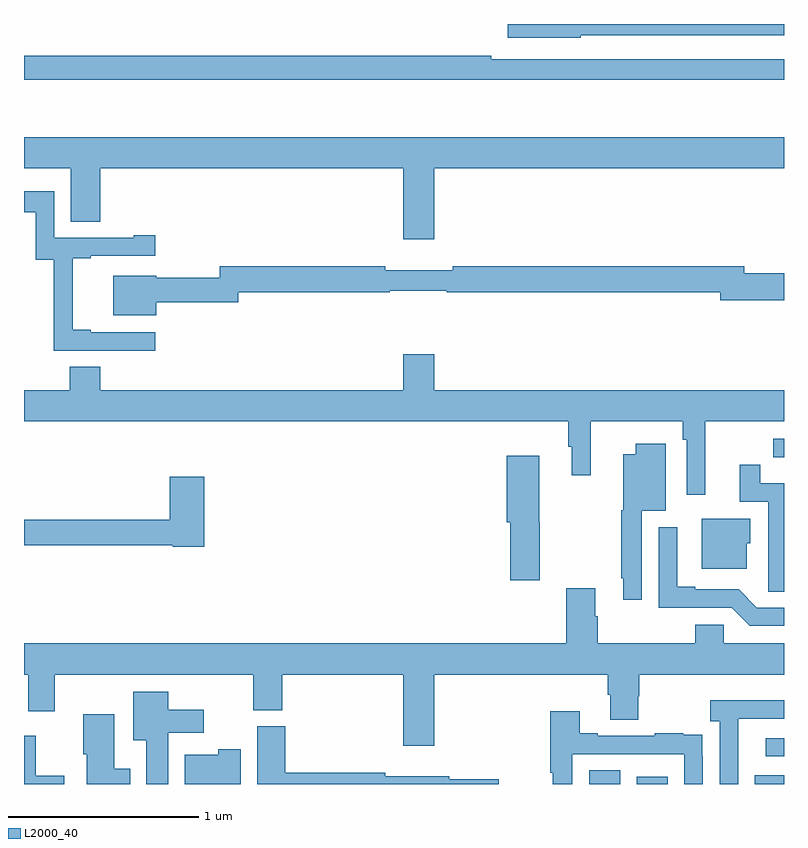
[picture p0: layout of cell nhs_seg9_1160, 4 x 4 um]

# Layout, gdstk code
import gdstk
lib = gdstk.Library(unit=1e-6, precision=1e-09)
def R(c, l, rs):  # rectangles x0, y0, x1, y1
    for r in rs: c.add(gdstk.rectangle(r[:2], r[2:], *l))
def P(c, l, *ps):  # polygons
    for p in ps: c.add(gdstk.Polygon(p, *l))
L2000_40 = (2000, 40)

nhs_seg9_1160 = lib.new_cell('nhs_seg9_1160')
R(nhs_seg9_1160, L2000_40, [(177.974,1206.5,178.138,1206.572), (178.226,1206.5,178.387,1206.538), (178.847,1206.5,179,1206.547), (178.905,1206.645,179,1206.741), (178.944,1208.22,179,1208.316)])
P(nhs_seg9_1160, L2000_40, [(177.93,1210.44),(179,1210.44),(179,1210.5),(177.546,1210.5),(177.546,1210.427),(177.93,1210.427)],
  [(179,1210.314),(177.458,1210.314),(177.458,1210.334),(175,1210.334),(175,1210.206),(179,1210.206)],
  [(177.16,1209.74),(179,1209.74),(179,1209.904),(175,1209.904),(175,1209.74),(175.247,1209.74),(175.247,1209.46),(175.4,1209.46),(175.4,1209.74),(176.996,1209.74),(176.996,1209.366),(177.16,1209.366)],
  [(175.69,1208.877),(175.351,1208.877),(175.351,1208.89),(175.256,1208.89),(175.256,1209.267),(175.351,1209.267),(175.351,1209.279),(175.69,1209.279),(175.69,1209.388),(175.577,1209.388),(175.577,1209.375),(175.158,1209.375),(175.158,1209.621),(175,1209.621),(175,1209.51),(175.061,1209.51),(175.061,1209.259),(175.156,1209.259),(175.156,1208.781),(175.69,1208.781)],
  [(175.696,1209.036),(176.127,1209.036),(176.127,1209.088),(176.924,1209.088),(176.924,1209.096),(177.224,1209.096),(177.224,1209.088),(178.664,1209.088),(178.664,1209.046),(179,1209.046),(179,1209.188),(178.792,1209.188),(178.792,1209.224),(177.256,1209.224),(177.256,1209.205),(176.9,1209.205),(176.9,1209.224),(176.031,1209.224),(176.031,1209.164),(175.696,1209.164),(175.696,1209.175),(175.469,1209.175),(175.469,1208.966),(175.696,1208.966)],
  [(178.586,1208.408),(179,1208.408),(179,1208.572),(177.16,1208.572),(177.16,1208.761),(176.996,1208.761),(176.996,1208.572),(175.4,1208.572),(175.4,1208.696),(175.24,1208.696),(175.24,1208.572),(175,1208.572),(175,1208.408),(177.865,1208.408),(177.865,1208.274),(177.884,1208.274),(177.884,1208.124),(177.984,1208.124),(177.984,1208.408),(178.468,1208.408),(178.468,1208.312),(178.488,1208.312),(178.488,1208.022),(178.586,1208.022)],
  [(178.251,1207.937),(178.378,1207.937),(178.378,1208.29),(178.22,1208.29),(178.22,1208.236),(178.154,1208.236),(178.154,1207.941),(178.143,1207.941),(178.143,1207.582),(178.154,1207.582),(178.154,1207.47),(178.251,1207.47)],
  [(177.714,1207.878),(177.712,1207.878),(177.712,1208.227),(177.542,1208.227),(177.542,1207.878),(177.56,1207.878),(177.56,1207.572),(177.714,1207.572)],
  [(179,1208.082),(178.874,1208.082),(178.874,1208.179),(178.766,1208.179),(178.766,1207.986),(178.916,1207.986),(178.916,1207.624),(178.917,1207.624),(178.917,1207.513),(179,1207.513)],
  [(175.949,1208.116),(175.766,1208.116),(175.766,1207.892),(175,1207.892),(175,1207.756),(175.782,1207.756),(175.782,1207.748),(175.949,1207.748)],
  [(178.804,1207.767),(178.822,1207.767),(178.822,1207.897),(178.568,1207.897),(178.568,1207.634),(178.804,1207.634)],
  [(179,1207.428),(178.857,1207.428),(178.761,1207.524),(178.534,1207.524),(178.534,1207.537),(178.438,1207.537),(178.438,1207.852),(178.341,1207.852),(178.341,1207.428),(178.725,1207.428),(178.821,1207.332),(179,1207.332)],
  [(177.16,1207.076),(178.073,1207.076),(178.073,1206.97),(178.085,1206.97),(178.085,1206.838),(178.233,1206.838),(178.233,1206.963),(178.238,1206.963),(178.238,1207.076),(179,1207.076),(179,1207.24),(178.683,1207.24),(178.683,1207.338),(178.532,1207.338),(178.532,1207.24),(178.019,1207.24),(178.019,1207.382),(178.006,1207.382),(178.006,1207.531),(177.854,1207.531),(177.854,1207.24),(175,1207.24),(175,1207.076),(175.022,1207.076),(175.022,1206.882),(175.162,1206.882),(175.162,1207.076),(176.207,1207.076),(176.207,1206.889),(176.36,1206.889),(176.36,1207.076),(176.996,1207.076),(176.996,1206.702),(177.16,1206.702)],
  [(175.759,1206.77),(175.945,1206.77),(175.945,1206.892),(175.759,1206.892),(175.759,1206.985),(175.574,1206.985),(175.574,1206.731),(175.643,1206.731),(175.643,1206.5),(175.759,1206.5)],
  [(178.758,1206.643),(178.759,1206.643),(178.759,1206.843),(179,1206.843),(179,1206.94),(178.611,1206.94),(178.611,1206.83),(178.662,1206.83),(178.662,1206.5),(178.758,1206.5)],
  [(177.885,1206.657),(178.476,1206.657),(178.476,1206.5),(178.572,1206.5),(178.572,1206.65),(178.571,1206.65),(178.571,1206.759),(178.469,1206.759),(178.469,1206.766),(178.321,1206.766),(178.321,1206.753),(178.021,1206.753),(178.021,1206.766),(177.925,1206.766),(177.925,1206.883),(177.769,1206.883),(177.769,1206.56),(177.784,1206.56),(177.784,1206.5),(177.885,1206.5)],
  [(175.558,1206.58),(175.474,1206.58),(175.474,1206.868),(175.313,1206.868),(175.313,1206.657),(175.331,1206.657),(175.331,1206.5),(175.558,1206.5)],
  [(177.499,1206.524),(177.238,1206.524),(177.238,1206.541),(176.9,1206.541),(176.9,1206.56),(176.375,1206.56),(176.375,1206.804),(176.228,1206.804),(176.228,1206.5),(177.499,1206.5)],
  [(175.213,1206.543),(175.063,1206.543),(175.063,1206.754),(175,1206.754),(175,1206.5),(175.213,1206.5)],
  [(176.14,1206.682),(176.022,1206.682),(176.022,1206.655),(175.847,1206.655),(175.847,1206.5),(176.14,1206.5)])

lib.write_gds('nhs_seg9_1160.gds')
